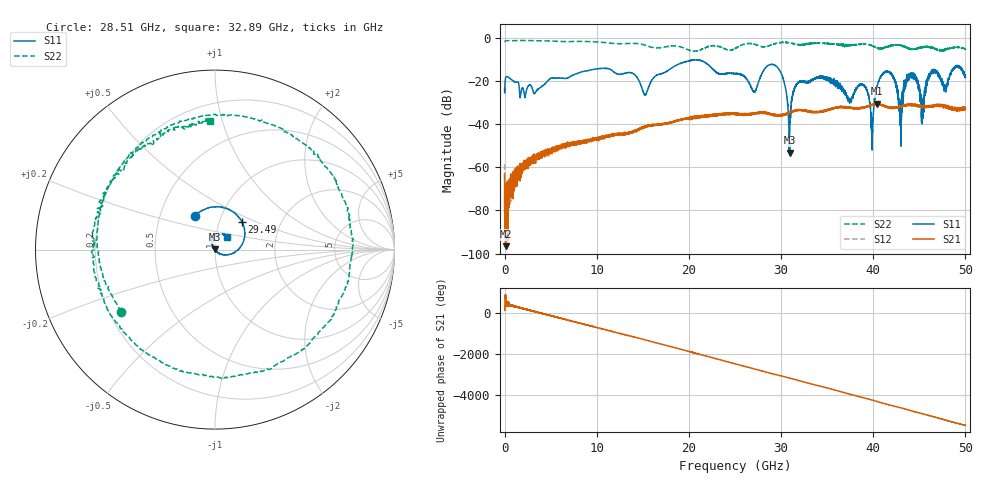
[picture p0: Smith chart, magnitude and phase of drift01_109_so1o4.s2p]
!Created with skrf (http://scikit-rf.org).
# Hz S RI R 50.0
!freq ReS11 ImS11 ReS21 ImS21 ReS12 ImS12 ReS22 ImS22
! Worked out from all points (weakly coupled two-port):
!   10001 points, 300 kHz to 50 GHz, reference 50 ohm
!   highest |S21| = -30.61 dB at 40.37 GHz (marker M1); lowest = -96.6 dB at 105.3 MHz (marker M2)
!   lowest |S11| = -53.3 dB at 30.92 GHz (marker M3), VSWR 1.00, Z = 49.9 + j0.184 ohm
!   |S11| at or under -10 dB: start of sweep to end of sweep
!   |S22| runs from -6.4 to -1.4 dB; largest |S21 - S12| = 0.0039
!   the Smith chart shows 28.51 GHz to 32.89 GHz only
!   S11 on the Smith chart (normalised r, x): 28.51 GHz: 0.75, +0.30; 29.49 GHz: 1.27, +0.42; 32.89 GHz: 1.13, +0.16
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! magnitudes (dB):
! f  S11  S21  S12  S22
! 300 kHz  -23.6  -63.3  -58.7  -2.1
! 105.3 MHz  -18.6  -96.6  -80.1  -1.5
! 8.335 GHz  -15.9  -48.1  -48.3  -1.8
! 15.24 GHz  -26.4  -41.3  -41.2  -3.5
! 16.67 GHz  -17.1  -40.1  -40.3  -4.8
! 25 GHz  -16.6  -35.4  -35.1  -5.1
! 27.1 GHz  -25.2  -35.3  -35.2  -3.1
! 28.51 GHz  -13.2  -34.7  -35.2  -4.1
! 29.49 GHz  -13.3  -36.1  -35.8  -2.7
! 30.92 GHz  -53.3  -34.7  -34.7  -2.5
! 31.61 GHz  -22.0  -33.6  -33.8  -3.0
! 32.89 GHz  -20.5  -34.0  -33.9  -2.9
! 33.34 GHz  -19.7  -34.3  -34.1  -2.7
! 38.92 GHz  -22.1  -32.5  -32.5  -3.0
! 39.86 GHz  -47.4  -31.1  -31.2  -3.6
! 40.37 GHz  -23.5  -30.6  -30.9  -4.8
! 41.67 GHz  -15.9  -32.4  -32.5  -4.0
! 42.97 GHz  -37.2  -31.9  -31.8  -3.7
! 44.07 GHz  -17.7  -31.0  -31.0  -5.3
! 45.31 GHz  -34.9  -31.9  -31.9  -4.4
! 46.42 GHz  -15.3  -32.1  -31.6  -4.6
! 50 GHz  -17.5  -33.2  -32.3  -5.3
